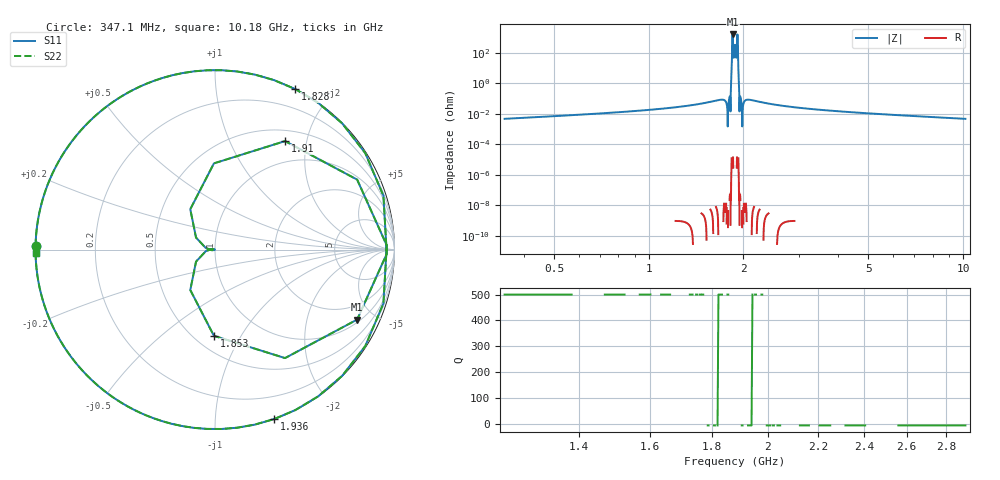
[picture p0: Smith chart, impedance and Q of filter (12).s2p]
! rf-tools.com
! Date: Thu Jan 30 2020 11:21:33 GMT+0000 (格林尼治标准时间)
# Hz S DB R 50.00
!Frequency  S11 dB  S11 Deg  S21 dB  S21 Deg  S12 dB  S12 Deg  S22 dB  S22 Deg
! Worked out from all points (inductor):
!   2000 points, 347.1 MHz to 10.18 GHz, reference 50 ohm
!   read as one part in shunt: L = 2.07 pH near 353 MHz
!   highest |Z| = 1.62 kohm at 1.847 GHz (marker M1)
!   self-resonance near 1.783 GHz
!   S11 on the Smith chart (normalised r, x): 347.1 MHz: 0.00, +0.01; 1.828 GHz: 0.00, +1.62; 1.853 GHz: 0.62, -0.77; 1.91 GHz: 0.65, +1.64; 1.936 GHz: 0.00, -1.41; 10.18 GHz: 0.00, -0.01
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3.47119e8  -0.00 178.8  -74.50 88.8  -74.50 88.8  -0.00 178.8
1.314811e9  -0.00 171.5  -57.65 81.5  -57.65 81.5  -0.00 171.5
1.674265e9  -0.00 153.2  -50.19 63.2  -50.19 63.2  -0.00 153.2
1.788339e9  -0.00 117.1  -62.65 -152.9  -62.65 -152.9  -0.00 117.1
1.806566e9  -0.00 100.3  -50.17 -169.7  -50.17 -169.7  -0.00 100.3
1.828065e9  -0.00 63.4  -35.05 -26.6  -35.05 -26.6  -0.00 63.4
1.846697e9  -1.08 -26.2  -6.56 -116.2  -6.56 -116.2  -1.08 -26.2
1.85295e9  -6.37 -90.7  -1.14 179.3  -1.14 179.3  -6.37 -90.7
1.88135e9  -130.78 -98.4  -0.00 -8.4  -0.00 -8.4  -130.78 -98.4
1.897315e9  -25.66 170.2  -0.01 -99.8  -0.01 -99.8  -25.66 170.2
1.910185e9  -2.86 57.2  -3.17 147.2  -3.17 147.2  -2.86 57.2
1.923142e9  -0.04 -32.7  -19.93 57.3  -19.93 57.3  -0.04 -32.7
1.936187e9  -0.00 -70.8  -41.47 19.2  -41.47 19.2  -0.00 -70.8
1.962544e9  -0.00 -106.8  -52.11 163.2  -52.11 163.2  -0.00 -106.8
1.985899e9  -0.00 -123.0  -68.11 -33.0  -68.11 -33.0  -0.00 -123.0
2.071605e9  -0.00 -148.1  -50.02 -58.1  -50.02 -58.1  -0.00 -148.1
2.343626e9  -0.00 -166.1  -53.78 -76.1  -53.78 -76.1  -0.00 -166.1
3.624583e9  -0.00 -175.6  -63.17 -85.6  -63.17 -85.6  -0.00 -175.6
5.26587e9  -0.00 -177.5  -67.91 -87.5  -67.91 -87.5  -0.00 -177.5
6.91262e9  -0.00 -178.2  -70.78 -88.2  -70.78 -88.2  -0.00 -178.2
8.55314e9  -0.00 -178.6  -72.86 -88.6  -72.86 -88.6  -0.00 -178.6
1.01795e10  -0.00 -178.8  -74.50 -88.8  -74.50 -88.8  -0.00 -178.8
